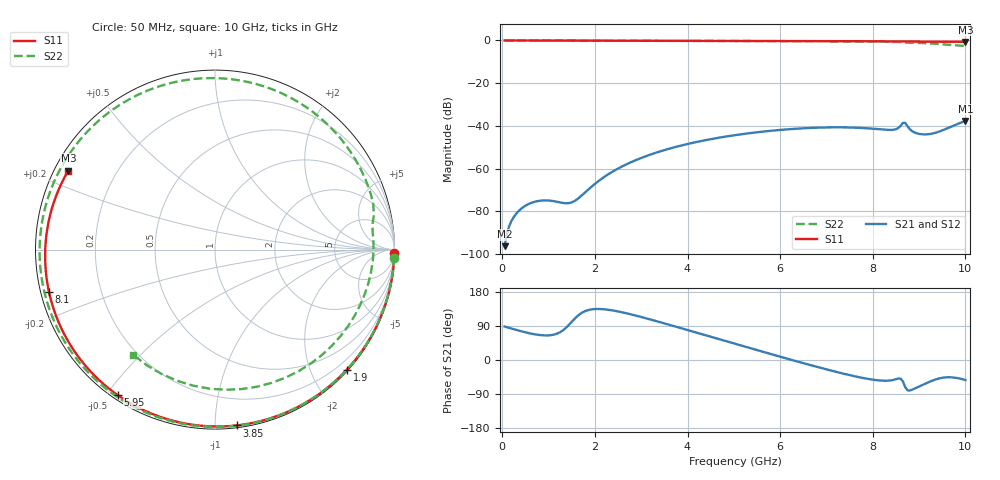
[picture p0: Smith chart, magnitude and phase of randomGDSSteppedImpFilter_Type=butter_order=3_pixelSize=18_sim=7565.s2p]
! freq	dB(S11)	phase(S11)	dB(S12)	phase(S12)
!  dB(S21)	phase(S21)	dB(S22)	phase(S22)
!S-par simulation data
#  GHz  S  DB  R 50
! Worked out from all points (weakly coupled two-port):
!   200 points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, 50 MHz to 10 GHz, reference 50 ohm
!   highest |S21| = -37.72 dB at 10 GHz (marker M1); lowest = -96.3 dB at 50 MHz (marker M2)
!   lowest |S11| = -0.6 dB at 10 GHz (marker M3), VSWR 26.92, Z = 1.98 + j12.6 ohm
!   |S11| at or under -10 dB: nowhere
!   |S22| runs from -2.6 to 0.0 dB; largest |S21 - S12| = 0
!   S11 on the Smith chart (normalised r, x): 50 MHz: open; 1.9 GHz: 0.02, -2.59; 3.85 GHz: 0.01, -1.13; 5.95 GHz: 0.02, -0.53; 8.1 GHz: 0.02, -0.12; 10 GHz: 0.04, +0.25
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0.05  -0.00 -1.1  -96.35 88.4  -96.35 88.4  -0.00 -2.5
0.35  -0.01 -7.9  -79.94 77.8  -79.94 77.8  -0.02 -17.4
0.6  -0.02 -13.6  -76.30 70.2  -76.30 70.2  -0.04 -29.6
0.95  -0.03 -21.4  -74.91 64.8  -74.91 64.8  -0.06 -46.3
1.45  -0.04 -32.5  -76.13 94.2  -76.13 94.2  -0.08 -69.0
1.75  -0.05 -39.0  -71.93 126.7  -71.93 126.7  -0.09 -81.8
1.9  -0.05 -42.3  -69.01 133.0  -69.01 133.0  -0.10 -88.0
2.55  -0.07 -56.2  -59.41 126.9  -59.41 126.9  -0.12 -113.2
3.4  -0.10 -73.8  -52.01 100.1  -52.01 100.1  -0.15 -143.0
3.85  -0.11 -82.9  -49.28 84.3  -49.28 84.3  -0.17 -157.7
5.05  -0.16 -106.5  -44.27 41.7  -44.27 41.7  -0.23 164.4
5.95  -0.22 -123.8  -42.00 10.4  -42.00 10.4  -0.28 135.2
6.7  -0.27 -138.1  -40.93 -14.9  -40.93 -14.9  -0.34 108.6
7.45  -0.34 -152.7  -40.74 -38.5  -40.74 -38.5  -0.43 78.3
8.1  -0.40 -165.8  -41.51 -53.5  -41.51 -53.5  -0.56 46.7
8.35  -0.43 -170.9  -41.90 -54.3  -41.90 -54.3  -0.64 32.6
8.7  -0.48 -178.3  -38.59 -71.4  -38.59 -71.4  -1.02 9.2
8.9  -0.50 177.3  -43.09 -75.6  -43.09 -75.6  -1.10 -4.3
9.2  -0.54 170.7  -43.91 -58.8  -43.91 -58.8  -1.36 -29.8
9.65  -0.60 160.2  -40.76 -45.6  -40.76 -45.6  -2.04 -79.2
9.85  -0.62 155.4  -38.93 -48.2  -38.93 -48.2  -2.38 -106.1
10  -0.65 151.7  -37.72 -52.8  -37.72 -52.8  -2.59 -128.0
